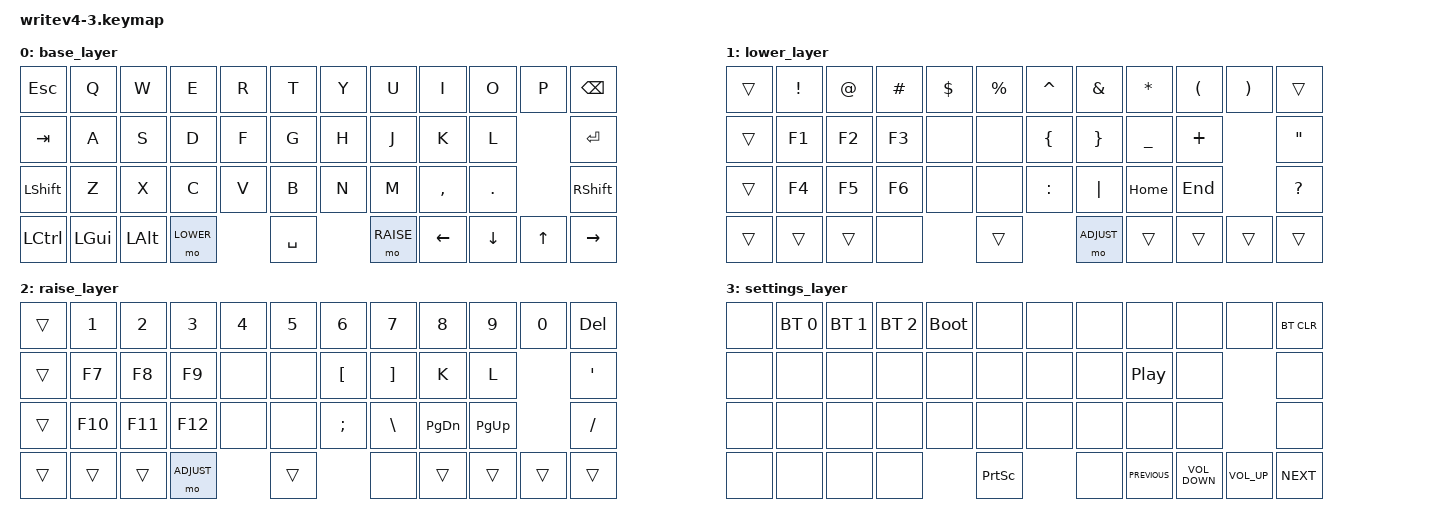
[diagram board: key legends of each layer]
#include <behaviors.dtsi>
#include <dt-bindings/zmk/keys.h>
#include <dt-bindings/zmk/bt.h>

#define BASE 0
#define LOWER 1
#define RAISE 2
#define ADJUST 3
 
    keymap {
        compatible = "zmk,keymap";

        /* base_layer
        ** ESC  Q     W     E     R     T     Y     U     I     O     P   BKSP
        ** TAB   A     S     D     F     G     H     J     K     L        RTN
        ** SHFT   Z     X     C     V     B     N     M     <,    >.      RSFT
        ** CTRL    SPEC    ALT    MO(1)   Space   MO(2)   LF    DN    UP  RT
        */ (layer checked)

        base_layer {
          bindings = <
            &kp ESC    &kp Q     &kp W     &kp E      &kp R  &kp T      &kp Y  &kp U      &kp I      &kp O     &kp P   &kp BACKSPACE 
            &kp TAB    &kp A     &kp S     &kp D      &kp F  &kp G      &kp H  &kp J      &kp K      &kp L             &kp RETURN
            &kp LSHFT  &kp Z     &kp X     &kp C      &kp V  &kp B      &kp N  &kp M      &kp COMMA  &kp DOT           &kp RSHFT
            &kp LCTRL  &kp LGUI  &kp LALT  &mo LOWER         &kp SPACE         &mo RAISE  &kp LEFT   &kp DOWN  &kp UP  &kp RIGHT
            >;
        };

        /* lower_layer / left bumper
        ** ESC  !     @     #     $     %     ^     &     *     (     )   BKSP
        ** TAB   F1    F2    F3    NONE  NONE  {     }     _     +        "
        ** SHFT   F4    F5    F6    NONE  NONE  :     |     Home  End     ?
        ** CTRL   SPEC    ALT     NONE   Space   MO(3)   LF    DN    UP   RT
        */

        lower_layer {
            bindings = <
            &trans  &kp EXCLAMATION  &kp AT  &kp HASH  &kp DOLLAR  &kp PERCENT  &kp CARET       &kp AMPERSAND    &kp ASTERISK    &kp LEFT_PARENTHESIS  &kp RIGHT_PARENTHESIS  &trans 
            &trans  &kp F1           &kp F2  &kp F3    &none       &none        &kp LEFT_BRACE  &kp RIGHT_BRACE  &kp UNDERSCORE  &kp PLUS                                     &kp DOUBLE_QUOTES
            &trans  &kp F4           &kp F5  &kp F6    &none       &none        &kp COLON       &kp PIPE         &kp HOME        &kp END                                      &kp QUESTION
            &trans  &trans           &trans  &none                 &trans                       &mo ADJUST       &trans          &trans                &trans                 &trans  
            >;
        }; 

        /* raise_layer / right bumper
        ** ESC  1     2     3     4     5     6     7     8     9     0   DEL
        ** TAB   F7    F8    F9    NONE  NONE  [     ]     -     =        '
        ** SHFT   F10   F11   F12   NONE  NONE  ;     \    PGDN   PGUP    /
        ** CTRL   SPEC    ALT     LT(3)  Space   NONE    LF    DN    UP   RT
        */

        raise_layer {
            bindings = <
            &trans  &kp 1    &kp 2    &kp 3       &kp 4   &kp 5  &kp 6             &kp 7              &kp 8          &kp 9        &kp 0   &kp DEL 
            &trans  &kp F7   &kp F8   &kp F9      &none   &none  &kp LEFT_BRACKET  &kp RIGHT_BRACKET  &kp K          &kp L                &kp SINGLE_QUOTE
            &trans  &kp F10  &kp F11  &kp F12     &none   &none  &kp SEMICOLON     &kp BACKSLASH      &kp PAGE_DOWN  &kp PAGE_UP          &kp SLASH
            &trans  &trans   &trans   &mo ADJUST          &trans                   &none              &trans         &trans       &trans  &trans
            >;
        }; 

        /* settings_layer / double bumper
        ** NONE  BT_0  BT_1  BT_2  BOOT NONE  NONE  NONE  NONE  NONE  NONE  BT_CLR   
        ** NONE   NONE  NONE  NONE  NONE  NONE  NONE  NONE  PAUSE  NONE     NONE
        ** NONE    NONE  NONE  NONE  NONE  NONE  NONE  NONE  NONE   NONE    NONE
        ** NONE    NONE    NONE   NONE   SCREENSHOT  NONE PREV  VOL-  VOL+  NEXT
        */

        settings_layer {
            bindings = <                                                                                                            
            &none  &bt BT_SEL 0  &bt BT_SEL 1  &bt BT_SEL 2  &bootloader  &none            &none  &none  &none             &none              &none            &bt BT_CLR 
            &none  &none         &none         &none         &none        &none            &none  &none  &kp C_PLAY_PAUSE  &none                               &none
            &none  &none         &none         &none         &none        &none            &none  &none  &none             &none                               &none
            &none  &none         &none         &none                      &kp PRINTSCREEN         &none  &kp C_PREVIOUS    &kp C_VOLUME_DOWN  &kp C_VOLUME_UP  &kp C_NEXT
            >;
        };
    };
};
